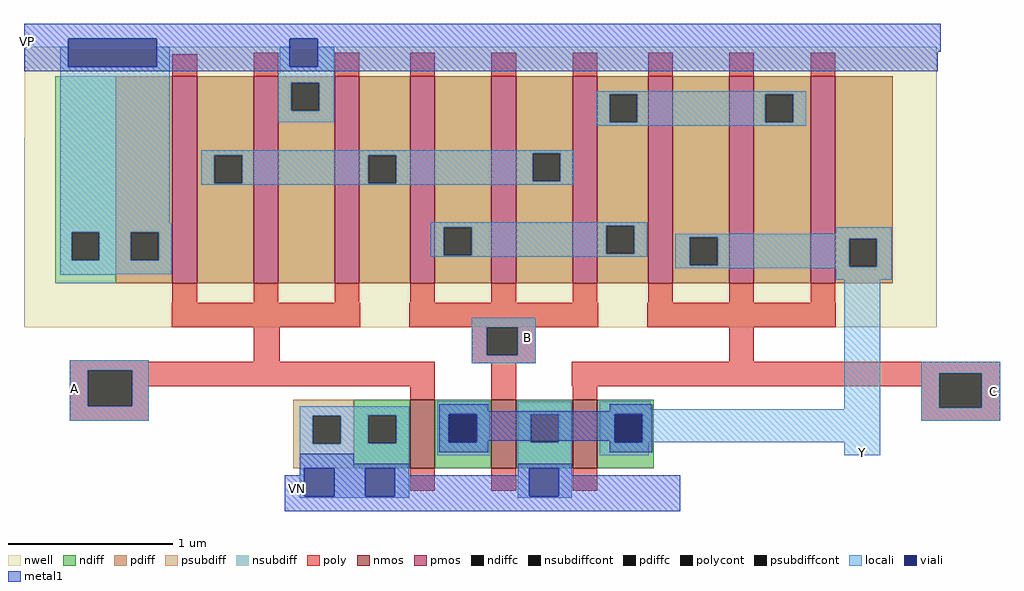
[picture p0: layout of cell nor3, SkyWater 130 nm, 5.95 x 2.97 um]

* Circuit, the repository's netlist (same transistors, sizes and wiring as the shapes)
* Skywater PDK 3-input NOR Testbench

.lib /foss/pdks/sky130A/libs.tech/ngspice/sky130.lib.spice tt

.subckt nor3 A B C Y VP VN

* PMOS network - 3 in series
xm01 n1 A VP VP sky130_fd_pr__pfet_01v8 l=0.15 w=3.78 as=1.134 ad=1.134 ps=8.16 pd=8.16
xm02 n2 B n1 VP sky130_fd_pr__pfet_01v8 l=0.15 w=3.78 as=1.134 ad=1.134 ps=8.16 pd=8.16
xm03 Y C n2 VP sky130_fd_pr__pfet_01v8 l=0.15 w=3.78 as=1.134 ad=1.134 ps=8.16 pd=8.16


* NMOS network - 3 in parallel
xm04 Y A VN VN sky130_fd_pr__nfet_01v8 l=0.15 w=0.42 as=0.126 ad=0.126 ps=1.44 pd=1.44
xm05 Y B VN VN sky130_fd_pr__nfet_01v8 l=0.15 w=0.42 as=0.126 ad=0.126 ps=1.44 pd=1.44
xm06 Y C VN VN sky130_fd_pr__nfet_01v8 l=0.15 w=0.42 as=0.126 ad=0.126 ps=1.44 pd=1.44
.ends nor3

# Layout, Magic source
magic
tech sky130A
magscale 1 2
<< nwell >>
rect -203 363 909 474
rect -204 132 909 363
<< nmos >>
rect 267 -40 297 44
rect 366 -40 396 44
rect 465 -40 495 44
<< pmos >>
rect -23 186 7 438
rect 76 186 106 438
rect 175 186 205 438
rect 267 186 297 438
rect 366 186 396 438
rect 465 186 495 438
rect 557 186 587 438
rect 656 186 686 438
rect 755 186 785 438
<< ndiff >>
rect 198 25 267 44
rect 198 -9 216 25
rect 250 -9 267 25
rect 198 -40 267 -9
rect 297 26 366 44
rect 297 -8 314 26
rect 348 -8 366 26
rect 297 -40 366 -8
rect 396 26 465 44
rect 396 -8 414 26
rect 448 -8 465 26
rect 396 -40 465 -8
rect 495 26 564 44
rect 495 -8 516 26
rect 550 -8 564 26
rect 495 -40 564 -8
<< pdiff >>
rect -92 248 -23 438
rect -92 214 -74 248
rect -40 214 -23 248
rect -92 186 -23 214
rect 7 342 76 438
rect 7 308 28 342
rect 62 308 76 342
rect 7 186 76 308
rect 106 430 175 438
rect 106 396 122 430
rect 156 396 175 430
rect 106 186 175 396
rect 205 342 267 438
rect 205 308 216 342
rect 250 308 267 342
rect 205 186 267 308
rect 297 254 366 438
rect 297 220 308 254
rect 342 220 366 254
rect 297 186 366 220
rect 396 344 465 438
rect 396 310 416 344
rect 450 310 465 344
rect 396 186 465 310
rect 495 416 557 438
rect 495 382 510 416
rect 544 382 557 416
rect 495 256 557 382
rect 495 222 506 256
rect 540 222 557 256
rect 495 186 557 222
rect 587 242 656 438
rect 587 208 608 242
rect 642 208 656 242
rect 587 186 656 208
rect 686 416 755 438
rect 686 382 700 416
rect 734 382 755 416
rect 686 186 755 382
rect 785 240 855 438
rect 785 206 802 240
rect 836 206 855 240
rect 785 186 855 206
<< ndiffc >>
rect 216 -9 250 25
rect 314 -8 348 26
rect 414 -8 448 26
rect 516 -8 550 26
<< pdiffc >>
rect -74 214 -40 248
rect 28 308 62 342
rect 122 396 156 430
rect 216 308 250 342
rect 308 220 342 254
rect 416 310 450 344
rect 510 382 544 416
rect 506 222 540 256
rect 608 208 642 242
rect 700 382 734 416
rect 802 206 836 240
<< psubdiff >>
rect 124 24 198 44
rect 124 -10 148 24
rect 182 -10 198 24
rect 124 -40 198 -10
<< nsubdiff >>
rect -166 248 -92 438
rect -166 214 -146 248
rect -112 214 -92 248
rect -166 186 -92 214
<< psubdiffcont >>
rect 148 -10 182 24
<< nsubdiffcont >>
rect -146 214 -112 248
<< poly >>
rect -23 438 7 465
rect 76 438 106 467
rect 175 438 205 467
rect 267 438 297 467
rect 366 438 396 467
rect 465 438 495 467
rect 557 438 587 467
rect 656 438 686 467
rect 755 438 785 467
rect -23 162 7 186
rect 76 162 106 186
rect 175 162 205 186
rect 267 162 297 186
rect 366 162 396 186
rect 465 162 495 186
rect 557 162 587 186
rect 656 162 686 186
rect 755 162 785 186
rect -24 132 206 162
rect 266 132 496 162
rect 556 132 786 162
rect -148 90 -52 92
rect 76 90 108 132
rect 342 98 360 132
rect 398 98 420 132
rect -148 80 297 90
rect 342 88 420 98
rect 656 90 686 132
rect -148 36 -126 80
rect -72 60 297 80
rect -72 36 -52 60
rect 267 44 297 60
rect 366 44 396 88
rect 464 76 986 90
rect 464 60 912 76
rect 465 44 495 60
rect -148 18 -52 36
rect 890 34 912 60
rect 964 34 986 76
rect 890 18 986 34
rect 267 -67 297 -40
rect 366 -67 396 -40
rect 465 -67 495 -40
<< polycont >>
rect 360 98 398 132
rect -126 36 -72 80
rect 912 34 964 76
<< locali >>
rect -160 450 -150 474
rect -42 450 -26 474
rect -160 259 -26 450
rect 108 450 120 474
rect 154 450 174 474
rect 108 442 174 450
rect 106 430 174 442
rect 106 396 122 430
rect 156 396 174 430
rect 106 382 174 396
rect 494 416 750 420
rect 494 382 510 416
rect 544 382 700 416
rect 734 382 750 416
rect 494 378 750 382
rect 12 344 466 348
rect 12 342 416 344
rect 12 308 28 342
rect 62 308 216 342
rect 250 310 416 342
rect 450 310 466 344
rect 250 308 466 310
rect 12 306 466 308
rect -160 248 -24 259
rect -160 214 -146 248
rect -112 214 -74 248
rect -40 214 -24 248
rect 292 256 556 260
rect 292 254 506 256
rect 292 220 308 254
rect 342 222 506 254
rect 540 222 556 256
rect 786 246 854 254
rect 342 220 556 222
rect 292 218 556 220
rect 590 242 854 246
rect -160 197 -24 214
rect 590 208 608 242
rect 642 240 854 242
rect 642 208 802 240
rect 590 206 802 208
rect 836 206 854 240
rect 590 204 854 206
rect -160 196 -92 197
rect 786 190 854 204
rect 342 132 420 144
rect 342 98 360 132
rect 398 98 420 132
rect -148 80 -52 92
rect 342 88 420 98
rect -148 36 -126 80
rect -72 36 -52 80
rect -148 18 -52 36
rect 132 25 266 36
rect 132 24 216 25
rect 132 -10 148 24
rect 182 -9 216 24
rect 250 -9 266 25
rect 182 -10 266 -9
rect 132 -40 266 -10
rect 300 26 364 42
rect 300 -8 314 26
rect 348 -8 364 26
rect 300 -24 364 -8
rect 398 26 464 42
rect 398 -8 414 26
rect 448 -8 464 26
rect 132 -74 138 -40
rect 174 -74 212 -40
rect 248 -74 266 -40
rect 132 -76 266 -74
rect 398 -40 464 -8
rect 498 32 560 42
rect 796 32 840 190
rect 498 26 840 32
rect 498 -8 516 26
rect 550 -8 840 26
rect 890 76 986 90
rect 890 34 912 76
rect 964 34 986 76
rect 890 18 986 34
rect 498 -24 558 -8
rect 796 -24 840 -8
rect 398 -74 412 -40
rect 448 -74 464 -40
rect 398 -76 464 -74
<< viali >>
rect -150 450 -42 484
rect 120 450 154 484
rect 314 -8 348 26
rect 138 -74 174 -40
rect 212 -74 248 -40
rect 516 -8 550 26
rect 412 -74 448 -40
<< metal1 >>
rect -204 484 914 502
rect -204 450 -150 484
rect -42 450 120 484
rect 154 468 914 484
rect 154 450 910 468
rect -204 444 910 450
rect 302 30 362 38
rect 510 30 562 38
rect 302 26 562 30
rect 302 -8 314 26
rect 348 -6 516 26
rect 348 -8 362 -6
rect 302 -20 362 -8
rect 510 -8 516 -6
rect 550 -8 562 26
rect 510 -20 562 -8
rect 132 -34 198 -22
rect 132 -40 266 -34
rect 132 -48 138 -40
rect 114 -74 138 -48
rect 174 -74 212 -40
rect 248 -48 266 -40
rect 398 -40 464 -34
rect 398 -48 412 -40
rect 248 -74 412 -48
rect 448 -48 464 -40
rect 448 -74 596 -48
rect 114 -92 596 -74
<< labels >>
rlabel locali -142 58 -142 58 7 A
port 1 w
rlabel locali 410 120 410 120 3 B
port 2 e
rlabel locali 978 54 978 54 3 C
port 3 e
rlabel locali 818 -20 818 -20 5 Y
port 4 s
rlabel metal1 -200 480 -200 480 7 VP
port 5 w
rlabel metal1 130 -64 130 -64 7 VN
port 6 w
<< end >>
